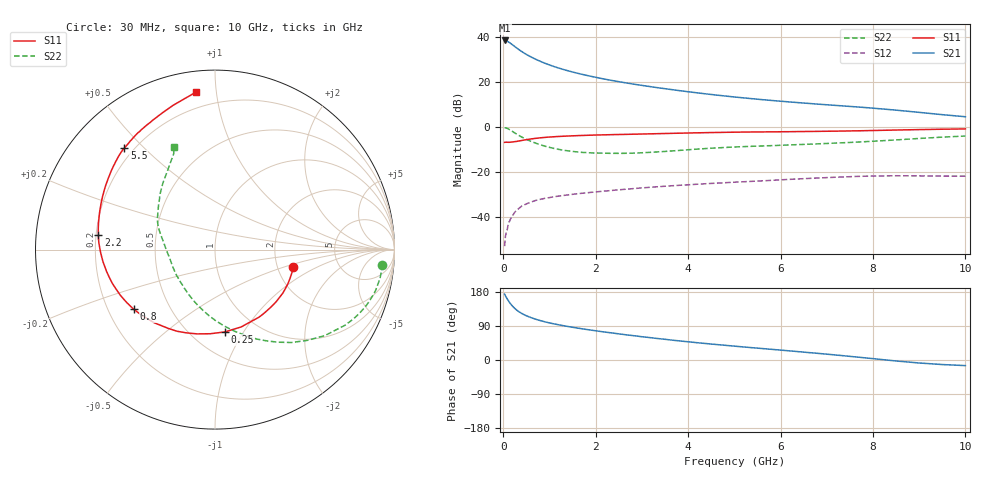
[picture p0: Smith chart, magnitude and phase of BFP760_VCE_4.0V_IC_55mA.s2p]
! Infineon Technologies  Discrete & RF Semiconductors
! BFP760
! VCE =  4.0 V,  IC =  55 mA
! Common Emitter S-Parameters:  Nov 2012
# GHz  S  MA  R  50
!  f  S11  S21  S12  S22
! GHz  MAG  ANG  MAG  ANG  MAG  ANG  MAG  ANG
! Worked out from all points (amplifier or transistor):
!   99 points, 30 MHz to 10 GHz, reference 50 ohm
!   highest |S21| = 38.3 dB at 30 MHz (marker M1)
!   |S21| within 3 dB of that: start of sweep to 269.4 MHz
!   unconditionally stable (mu >= 1): 3.61 GHz to end of sweep
!   at 350 MHz: K = 0.41, MSG = 35.1 dB, |S12| = -36.2 dB
!   at 3.5 GHz: K = 0.99, MSG = 21.7 dB, |S12| = -26.5 dB
!   at 10 GHz: K = 1.04, MAG = 12.0 dB, |S12| = -22.0 dB
!   S11 on the Smith chart (normalised r, x): 30 MHz: 2.44, -0.59; 250 MHz: 0.71, -0.83; 800 MHz: 0.31, -0.30; 2.2 GHz: 0.21, +0.06; 5.5 GHz: 0.16, +0.44; 10 GHz: 0.11, +0.88
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0.03  0.4456 -12.5  81.77 173.6  0.0022 66.0  0.9344 -5.1
0.07  0.4483 -28.9  80.18 164.5  0.0049 74.4  0.9229 -14.4
0.1  0.4477 -40.3  77.23 158.5  0.0061 73.9  0.8961 -20.8
0.13  0.4471 -50.5  73.84 153.0  0.0078 69.2  0.8634 -26.5
0.15  0.4493 -57.1  71.55 149.6  0.0086 66.0  0.839 -30.1
0.2  0.4549 -71.3  65.51 142.2  0.0104 63.6  0.7777 -38.0
0.25  0.4618 -83.1  59.94 136.1  0.0125 61.0  0.7199 -44.7
0.3  0.4694 -93.1  54.79 130.9  0.0141 58.7  0.6698 -50.6
0.35  0.4797 -101.7  50.26 126.6  0.0155 56.1  0.6246 -55.7
0.45  0.5016 -114.9  43.03 119.7  0.018 52.7  0.5513 -64.8
0.6  0.5301 -129.8  35.18 111.9  0.021 48.9  0.4691 -76.3
0.8  0.5619 -143.7  28.15 104.1  0.0241 45.1  0.3948 -89.7
1  0.5848 -153.9  23.38 97.9  0.0264 42.8  0.3448 -101.3
1.2  0.6023 -161.9  19.94 92.9  0.0285 41.4  0.3113 -111.7
1.7  0.6331 -176.6  14.5 82.5  0.0329 40.2  0.2669 -133.3
2.2  0.655 172.7  11.28 73.7  0.0369 39.7  0.2557 -150.7
3.4  0.6968 153.0  7.159 55.9  0.0464 37.9  0.2761 177.7
5.1  0.7516 134.6  4.436 35.5  0.0587 33.8  0.3548 154.5
5.5  0.7586 131.7  4.05 31.3  0.0614 32.7  0.3674 150.7
6.7  0.7799 123.3  3.211 18.7  0.0711 28.3  0.4089 139.8
8.5  0.837 106.2  2.314 -2.6  0.0807 16.6  0.5043 122.3
10  0.8859 96.8  1.652 -14.8  0.079 11.2  0.6156 111.7
